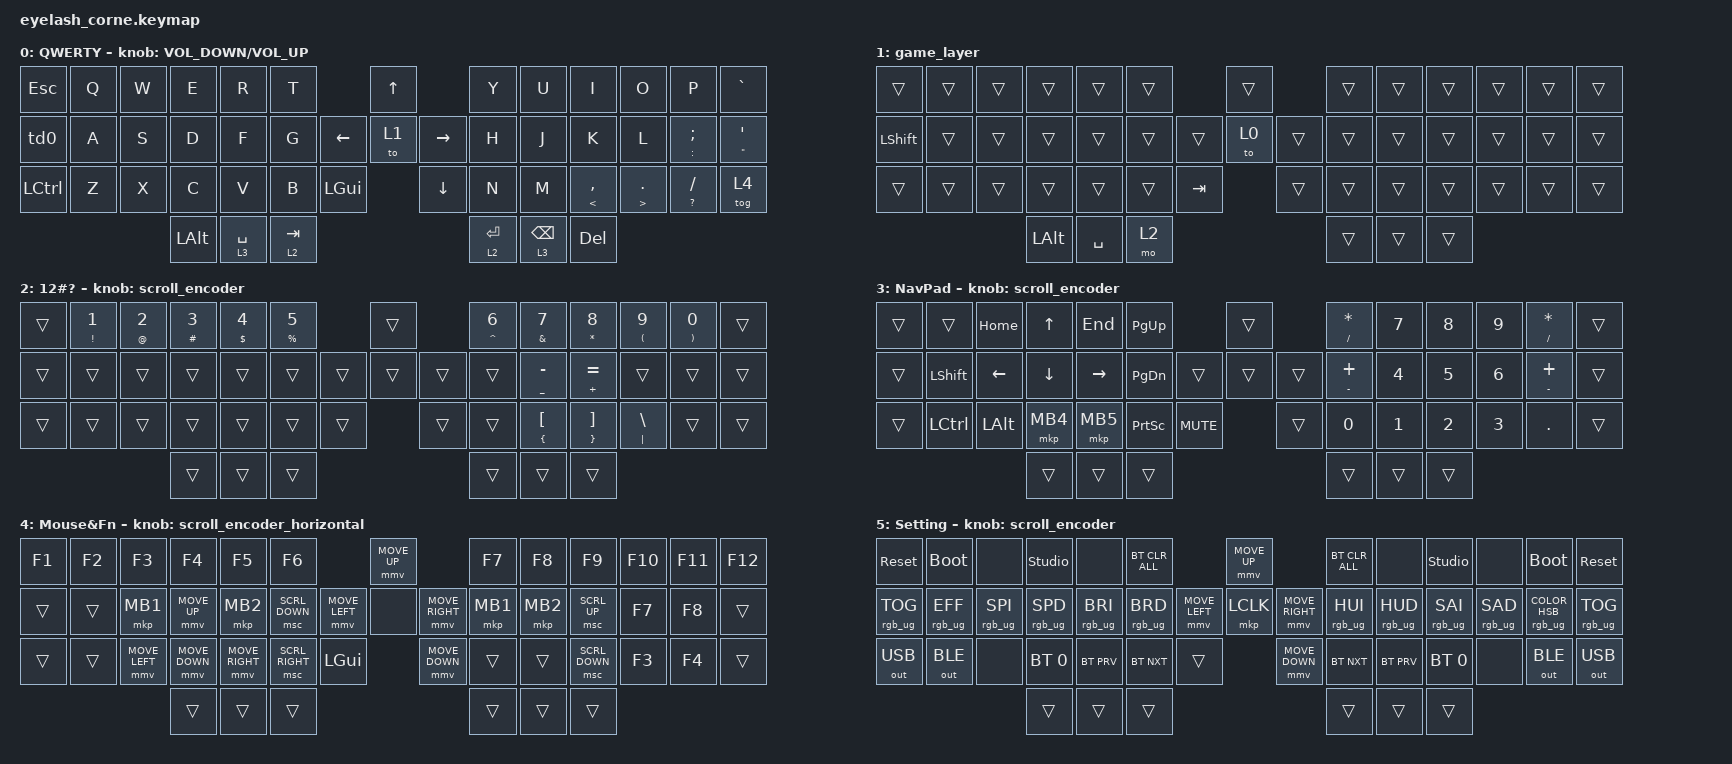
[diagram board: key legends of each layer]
#define ZMK_POINTING_DEFAULT_MOVE_VAL 1200  // 600
#define ZMK_POINTING_DEFAULT_SCRL_VAL 25   // 10

#include <input/processors.dtsi>
#include <zephyr/dt-bindings/input/input-event-codes.h>
#include <behaviors.dtsi>
#include <dt-bindings/zmk/bt.h>
#include <dt-bindings/zmk/keys.h>
#include <dt-bindings/zmk/outputs.h>
#include <dt-bindings/zmk/pointing.h>
#include <dt-bindings/zmk/rgb.h>

&mmv_input_listener { input-processors = <&zip_xy_scaler 2 1>; };

&msc_input_listener { input-processors = <&zip_scroll_scaler 2 1>; };

&msc {
    acceleration-exponent = <1>;      // 0
    time-to-max-speed-ms = <100>;       // 300
    delay-ms = <0>;                   // 0
};

&mmv {
    time-to-max-speed-ms = <500>;
    acceleration-exponent = <1>;
    trigger-period-ms = <16>;
};

&soft_off { hold-time-ms = <2000>; };

/ {
    behaviors {
        td0: td0 {
            compatible = "zmk,behavior-tap-dance";
            display-name = "Shift/Caps Lock Tap Dance";
            #binding-cells = <0>;
            bindings = <&kp LEFT_SHIFT>, <&kp CAPS>;
        };

        scroll_encoder_horizontal: scroll_encoder_horizontal {
            compatible = "zmk,behavior-sensor-rotate";
            #sensor-binding-cells = <0>;
            bindings = <&msc SCRL_RIGHT>, <&msc SCRL_LEFT>;

            tap-ms = <100>;
        };
    };

    rgb_encoder: rgb_encoder {
        compatible = "zmk,behavior-sensor-rotate";
        #sensor-binding-cells = <0>;
        bindings = <&rgb_ug RGB_BRI>, <&rgb_ug RGB_BRD>;
    };

    scroll_encoder: scroll_encoder {
        compatible = "zmk,behavior-sensor-rotate";
        #sensor-binding-cells = <0>;
        bindings = <&msc SCRL_DOWN>, <&msc SCRL_UP>;

        tap-ms = <100>;
    };

    combos {
        compatible = "zmk,combos";

        softoff {
            bindings = <&soft_off>;
            key-positions = <1 15 29>;
        };

        left_gui {
            bindings = <&kp LEFT_GUI>;
            key-positions = <0 1>;
        };

        grave {
            bindings = <&kp GRAVE>;
            key-positions = <11 12>;
        };

        left_bkt {
            bindings = <&kp LEFT_BRACKET>;
            key-positions = <3 4>;
        };

        right_bkt {
            bindings = <&kp RIGHT_BRACKET>;
            key-positions = <8 9>;
        };

        left_par {
            bindings = <&kp LEFT_PARENTHESIS>;
            key-positions = <16 17>;
        };

        right_par {
            bindings = <&kp RIGHT_PARENTHESIS>;
            key-positions = <23 24>;
        };

        left_brace {
            bindings = <&kp LEFT_BRACE>;
            key-positions = <31 32>;
        };

        right_brace {
            bindings = <&kp RIGHT_BRACE>;
            key-positions = <37 38>;
        };

        bac {
            bindings = <&kp BACKSLASH>;
            key-positions = <5 7>;
        };

        pipe {
            bindings = <&kp PIPE>;
            key-positions = <18 22>;
        };
    };

    keymap {
        compatible = "zmk,keymap";

        default_layer {
            display-name = "QWERTY";
            bindings = <
&kp ESCAPE        &kp Q  &kp W  &kp E         &kp R        &kp T                                &kp UP               &kp Y        &kp U            &kp I                &kp O                    &kp P               &kp GRAVE
&td0              &kp A  &kp S  &kp D         &kp F        &kp G                      &kp LEFT  &to 1     &kp RIGHT  &kp H        &kp J            &kp K                &kp L                    &mt COLON SEMI      &mt DOUBLE_QUOTES SQT
&kp LEFT_CONTROL  &kp Z  &kp X  &kp C         &kp V        &kp B      &kp LEFT_GUI              &kp DOWN             &kp N        &kp M            &mt LESS_THAN COMMA  &mt GREATER_THAN PERIOD  &mt QUESTION SLASH  &tog 4
                                &kp LEFT_ALT  &lt 3 SPACE  &lt 2 TAB                                                 &lt 2 ENTER  &lt 3 BACKSPACE  &kp DELETE
            >;

            sensor-bindings = <&inc_dec_kp C_VOLUME_DOWN C_VOLUME_UP>;
        };

        game_layer {
            bindings = <
&trans          &trans  &trans  &trans        &trans     &trans                     &trans          &trans  &trans  &trans  &trans  &trans  &trans
&kp LEFT_SHIFT  &trans  &trans  &trans        &trans     &trans             &trans  &to 0   &trans  &trans  &trans  &trans  &trans  &trans  &trans
&trans          &trans  &trans  &trans        &trans     &trans  &kp TAB            &trans          &trans  &trans  &trans  &trans  &trans  &trans
                                &kp LEFT_ALT  &kp SPACE  &mo 2                                      &trans  &trans  &trans
            >;
        };

        raise_layer {
            display-name = "12#?";
            bindings = <
&trans  &mt EXCL NUMBER_1  &mt AT NUMBER_2  &mt HASH NUMBER_3  &mt DOLLAR NUMBER_4  &mt PERCENT N5                    &trans          &mt CARET NUMBER_6  &mt AMPERSAND N7     &mt ASTERISK N8       &mt LEFT_PARENTHESIS N9  &mt RIGHT_PARENTHESIS N0  &trans
&trans  &trans             &trans           &trans             &trans               &trans                    &trans  &trans  &trans  &trans              &mt UNDER MINUS      &mt PLUS EQUAL        &trans                   &trans                    &trans
&trans  &trans             &trans           &trans             &trans               &trans          &trans            &trans          &trans              &mt LEFT_BRACE LBKT  &mt RIGHT_BRACE RBKT  &mt PIPE BACKSLASH       &trans                    &trans
                                            &trans             &trans               &trans                                            &trans              &trans               &trans
            >;

            sensor-bindings = <&scroll_encoder>;
        };

        nav_pad_layer {
            display-name = "NavPad";
            bindings = <
&trans  &trans          &kp HOME        &kp UP_ARROW    &kp END          &kp PAGE_UP                            &trans          &mt SLASH STAR  &kp N7        &kp N8        &kp N9        &mt SLASH STAR  &trans
&trans  &kp LEFT_SHIFT  &kp LEFT_ARROW  &kp DOWN_ARROW  &kp RIGHT_ARROW  &kp PAGE_DOWN                  &trans  &trans  &trans  &mt MINUS PLUS  &kp NUMBER_4  &kp N5        &kp NUMBER_6  &mt MINUS PLUS  &trans
&trans  &kp LCTRL       &kp LEFT_ALT    &mkp MB4        &mkp MB5         &kp PRINTSCREEN  &kp C_MUTE            &trans          &kp N0          &kp NUMBER_1  &kp NUMBER_2  &kp NUMBER_3  &kp DOT         &trans
                                        &trans          &trans           &trans                                                 &trans          &trans        &trans
            >;

            sensor-bindings = <&scroll_encoder>;
        };

        mouse_fn_layer {
            display-name = "Mouse&Fn";
            bindings = <
&kp F1  &kp F2  &kp F3          &kp F4          &kp F5           &kp F6                                           &mmv MOVE_UP                     &kp F7    &kp F8    &kp F9          &kp F10  &kp F11  &kp F12
&trans  &trans  &mkp MB1        &mmv MOVE_UP    &mkp MB2         &msc SCRL_DOWN                   &mmv MOVE_LEFT  &none           &mmv MOVE_RIGHT  &mkp MB1  &mkp MB2  &msc SCRL_UP    &kp F7   &kp F8   &trans
&trans  &trans  &mmv MOVE_LEFT  &mmv MOVE_DOWN  &mmv MOVE_RIGHT  &msc SCRL_RIGHT  &kp LEFT_GUI                    &mmv MOVE_DOWN                   &trans    &trans    &msc SCRL_DOWN  &kp F3   &kp F4   &trans
                                &trans          &trans           &trans                                                                            &trans    &trans    &trans
            >;

            sensor-bindings = <&scroll_encoder_horizontal>;
        };

        setting_layer {
            display-name = "Setting";
            bindings = <
&sys_reset       &bootloader      &none            &studio_unlock   &none            &bt BT_CLR_ALL                             &mmv MOVE_UP                     &bt BT_CLR_ALL   &none            &studio_unlock   &none            &bootloader                     &sys_reset
&rgb_ug RGB_TOG  &rgb_ug RGB_EFF  &rgb_ug RGB_SPI  &rgb_ug RGB_SPD  &rgb_ug RGB_BRI  &rgb_ug RGB_BRD            &mmv MOVE_LEFT  &mkp LCLK       &mmv MOVE_RIGHT  &rgb_ug RGB_HUI  &rgb_ug RGB_HUD  &rgb_ug RGB_SAI  &rgb_ug RGB_SAD  &rgb_ug RGB_COLOR_HSB(0,0,100)  &rgb_ug RGB_TOG
&out OUT_USB     &out OUT_BLE     &none            &bt BT_SEL 0     &bt BT_PRV       &bt BT_NXT       &trans                    &mmv MOVE_DOWN                   &bt BT_NXT       &bt BT_PRV       &bt BT_SEL 0     &none            &out OUT_BLE                    &out OUT_USB
                                                   &trans           &trans           &trans                                                                      &trans           &trans           &trans
            >;

            sensor-bindings = <&scroll_encoder>;
        };
    };

    conditional_layers {
        compatible = "zmk,conditional-layers";

        ToSetting {
            if-layers = <2 3>;
            then-layer = <5>;
        };
    };
};
